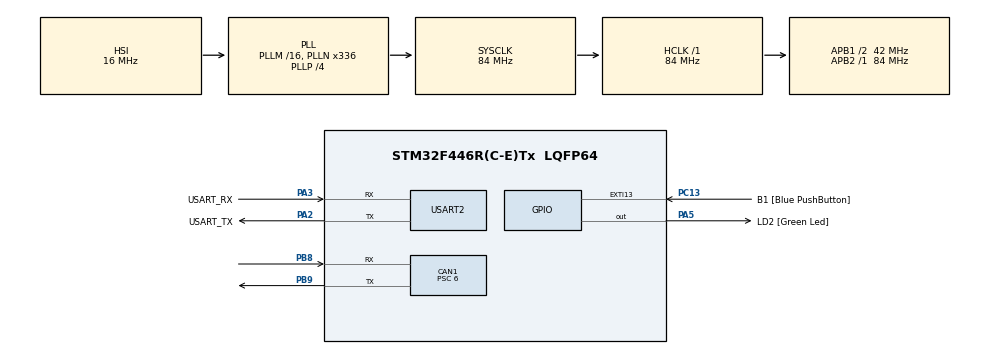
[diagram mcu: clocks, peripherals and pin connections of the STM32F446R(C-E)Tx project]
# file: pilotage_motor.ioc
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CAN1.BS1=CAN_BS1_11TQ
CAN1.BS2=CAN_BS2_2TQ
CAN1.CalculateBaudRate=500000
CAN1.CalculateTimeBit=2000
CAN1.CalculateTimeQuantum=142.85714285714286
CAN1.Prescaler=6
Mcu.Family=STM32F4
Mcu.Name=STM32F446R(C-E)Tx
Mcu.Package=LQFP64
NVIC.PriorityGroup=NVIC_PRIORITYGROUP_0
PA13.GPIO_Label=TMS
PA13.Mode=Serial_Wire
PA13.Signal=SYS_JTMS-SWDIO
PA14.GPIO_Label=TCK
PA14.Mode=Serial_Wire
PA14.Signal=SYS_JTCK-SWCLK
PA2.GPIO_Label=USART_TX
PA2.Mode=Asynchronous
PA2.Signal=USART2_TX
PA3.GPIO_Label=USART_RX
PA3.Mode=Asynchronous
PA3.Signal=USART2_RX
PA5.GPIO_Label=LD2 [Green Led]
PA5.Signal=GPIO_Output
PB3.GPIO_Label=SWO
PB3.Signal=SYS_JTDO-SWO
PB8.Mode=CAN_Activate
PB8.Signal=CAN1_RX
PB9.Mode=CAN_Activate
PB9.Signal=CAN1_TX
PC13.GPIO_Label=B1 [Blue PushButton]
PC13.GPIO_ModeDefaultEXTI=GPIO_MODE_IT_FALLING
PC13.Signal=GPXTI13
PC14-OSC32_IN.Mode=LSE-External-Oscillator
PC14-OSC32_IN.Signal=RCC_OSC32_IN
PC15-OSC32_OUT.Mode=LSE-External-Oscillator
PC15-OSC32_OUT.Signal=RCC_OSC32_OUT
PH0-OSC_IN.Mode=HSE-External-Oscillator
PH0-OSC_IN.Signal=RCC_OSC_IN
PH1-OSC_OUT.Mode=HSE-External-Oscillator
PH1-OSC_OUT.Signal=RCC_OSC_OUT
ProjectManager.HeapSize=0x200
ProjectManager.StackSize=0x400
ProjectManager.TargetToolchain=STM32CubeIDE
RCC.48MHZClocksFreq_Value=84000000
RCC.AHBFreq_Value=84000000
RCC.APB1CLKDivider=RCC_HCLK_DIV2
RCC.APB1Freq_Value=42000000
RCC.APB1TimFreq_Value=84000000
RCC.APB2Freq_Value=84000000
RCC.APB2TimFreq_Value=84000000
RCC.CortexFreq_Value=84000000
RCC.FLatency-AdvancedSettings=FLASH_LATENCY_2
RCC.HCLKFreq_Value=84000000
RCC.HSE_VALUE=8000000
RCC.HSI_VALUE=16000000
RCC.PLLN=336
RCC.PLLP=RCC_PLLP_DIV4
RCC.SYSCLKFreq_VALUE=84000000
RCC.SYSCLKSource=RCC_SYSCLKSOURCE_PLLCLK
RCC.USBFreq_Value=168000000
RCC.VCOOutputFreq_Value=336000000
USART2.VirtualMode=VM_ASYNC
board=NUCLEO-F446RE

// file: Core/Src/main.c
/* USER CODE BEGIN Header */
/**
  ******************************************************************************
  * @file           : main.c
  * @brief          : Main program body
  ******************************************************************************
  * @attention
  *
  * Copyright (c) 2025 STMicroelectronics.
  * All rights reserved.
  *
  * This software is licensed under terms that can be found in the LICENSE file
  * in the root directory of this software component.
  * If no LICENSE file comes with this software, it is provided AS-IS.
  *
  ******************************************************************************
  */
/* USER CODE END Header */
#include "main.h"
#include "can.h"
#include "usart.h"
#include "gpio.h"

void SystemClock_Config(void);

/* USER CODE BEGIN 0 */

int __io_putchar(int chr)
{
	HAL_UART_Transmit(&huart2, (uint8_t*) &chr, 1, HAL_MAX_DELAY);
	return chr;
}

/* USER CODE END 0 */

int main(void)
{

  /* MCU Configuration--------------------------------------------------------*/

  /* Reset of all peripherals, Initializes the Flash interface and the Systick. */
  HAL_Init();

  /* Configure the system clock */
  SystemClock_Config();

  /* Initialize all configured peripherals */
  MX_GPIO_Init();
  MX_USART2_UART_Init();
  MX_CAN1_Init();
  /* USER CODE BEGIN 2 */

  printf("\r\n=======pilotage motor========\r\n");

  if (HAL_CAN_Start(&hcan1) != HAL_OK)
     {
         Error_Handler();
     }

  CAN_TxHeaderTypeDef txHeader;
  uint8_t data[2];
  uint32_t txMailbox;

//  .StdId contient le message ID quand celui-ci est standard (11 bits)
//  .ExtId contient le message ID quand celui-ci est étendu (29 bits)
//  .IDE définit si la trame est standard (CAN_ID_STD) ou étendue (CAN_ID_EXT)
//  .RTR définit si la trame est du type standard (CAN_RTR_DATA) ou RTR (CAN_RTR_REMOTE) (voir le cours)
//  .DLC entier représentant la taille des données à transmettre (entre 0 et 8)
//  .TransmitGlobal dispositif permettant de mesurer les temps de réponse du bus CAN, qu'on utilisera pas. Le fixer à DISABLE

  txHeader.StdId = 0x61;
  txHeader.ExtId = 0x01;
  txHeader.IDE   = CAN_ID_STD;
  txHeader.RTR   = CAN_RTR_DATA;
  txHeader.DLC   = 2;
  txHeader.TransmitGlobalTime = DISABLE;

  /* USER CODE END 2 */

  /* Infinite loop */
  /* USER CODE BEGIN WHILE */
  while (1)
  {
	  data[0] = 0x5A;
	  data[1] = 0x01;
	  if (HAL_CAN_AddTxMessage(&hcan1, &txHeader, data, &txMailbox) != HAL_OK)
	  {
		  Error_Handler();
	  }
	  HAL_Delay(1000);

	  data[0] = 0x5A;
	  data[1] = 0x00;
	  if (HAL_CAN_AddTxMessage(&hcan1, &txHeader, data, &txMailbox) != HAL_OK)
	  {
		  Error_Handler();
	  }
	  HAL_Delay(1000);
    /* USER CODE END WHILE */

  }
}

void SystemClock_Config(void)
{
  RCC_OscInitTypeDef RCC_OscInitStruct = {0};
  RCC_ClkInitTypeDef RCC_ClkInitStruct = {0};

  /** Configure the main internal regulator output voltage
  */
  __HAL_RCC_PWR_CLK_ENABLE();
  __HAL_PWR_VOLTAGESCALING_CONFIG(PWR_REGULATOR_VOLTAGE_SCALE3);

  /** Initializes the RCC Oscillators according to the specified parameters
  * in the RCC_OscInitTypeDef structure.
  */
  RCC_OscInitStruct.OscillatorType = RCC_OSCILLATORTYPE_HSI;
  RCC_OscInitStruct.HSIState = RCC_HSI_ON;
  RCC_OscInitStruct.HSICalibrationValue = RCC_HSICALIBRATION_DEFAULT;
  RCC_OscInitStruct.PLL.PLLState = RCC_PLL_ON;
  RCC_OscInitStruct.PLL.PLLSource = RCC_PLLSOURCE_HSI;
  RCC_OscInitStruct.PLL.PLLM = 16;
  RCC_OscInitStruct.PLL.PLLN = 336;
  RCC_OscInitStruct.PLL.PLLP = RCC_PLLP_DIV4;
  RCC_OscInitStruct.PLL.PLLQ = 2;
  RCC_OscInitStruct.PLL.PLLR = 2;
  if (HAL_RCC_OscConfig(&RCC_OscInitStruct) != HAL_OK)
  {
    Error_Handler();
  }

  /** Initializes the CPU, AHB and APB buses clocks
  */
  RCC_ClkInitStruct.ClockType = RCC_CLOCKTYPE_HCLK|RCC_CLOCKTYPE_SYSCLK
                              |RCC_CLOCKTYPE_PCLK1|RCC_CLOCKTYPE_PCLK2;
  RCC_ClkInitStruct.SYSCLKSource = RCC_SYSCLKSOURCE_PLLCLK;
  RCC_ClkInitStruct.AHBCLKDivider = RCC_SYSCLK_DIV1;
  RCC_ClkInitStruct.APB1CLKDivider = RCC_HCLK_DIV2;
  RCC_ClkInitStruct.APB2CLKDivider = RCC_HCLK_DIV1;

  if (HAL_RCC_ClockConfig(&RCC_ClkInitStruct, FLASH_LATENCY_2) != HAL_OK)
  {
    Error_Handler();
  }
}

void Error_Handler(void)
{
  __disable_irq();
  while (1)
  {
  }
}
